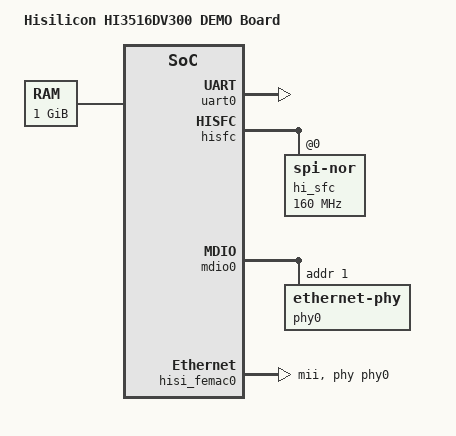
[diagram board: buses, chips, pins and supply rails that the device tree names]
// SPDX-License-Identifier: (GPL-2.0-or-later OR MIT)
/dts-v1/;
#include "hi3516dv300.dtsi"

/ {
	model = "Hisilicon HI3516DV300 DEMO Board";
	compatible = "hisilicon,hi3516dv300";

	chosen {
		bootargs = "earlycon=pl011,0x120a0000 console=ttyAMA0,115200 keep_bootcon";
		stdout-path = "serial0:115200n8";
	};

	memory {
		device_type = "memory";
		/* 1 GiB DDR — boards typically ship with 1 GiB; U-Boot
		 * cmdline mem=${osmem} can clamp lower if needed. */
		reg = <0x80000000 0x40000000>;
	};
};

&uart0 {
	status = "okay";
};

&hisfc {
	hi_sfc {
		compatible = "jedec,spi-nor";
		reg = <0>;
		spi-max-frequency = <160000000>;
	};
};

&mdio0 {
	hisilicon,phy-reset-delays-us = <10000 20000 150000>;
	phy0: ethernet-phy@1 {
		reg = <1>;
	};
};

&hisi_femac0 {
	mac-address = [00 00 00 00 00 00];
	phy-mode = "mii";
	phy-handle = <&phy0>;
};
